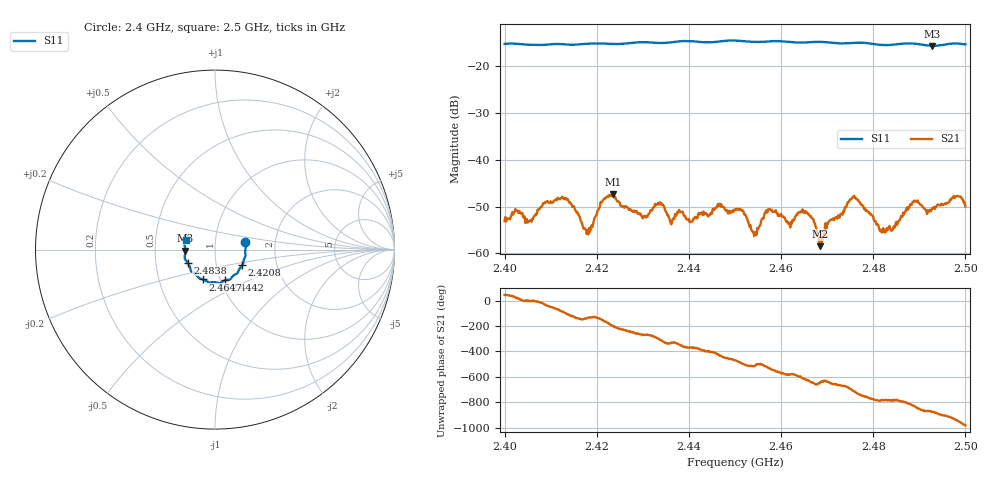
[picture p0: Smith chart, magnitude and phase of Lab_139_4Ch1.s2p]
# Hz S RI R 50
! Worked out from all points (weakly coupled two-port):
!   601 points, 2.4 GHz to 2.5 GHz, reference 50 ohm
!   highest |S21| = -47.36 dB at 2.4235 GHz (marker M1); lowest = -58.4 dB at 2.4685 GHz (marker M2)
!   lowest |S11| = -15.6 dB at 2.4928 GHz (marker M3), VSWR 1.40, Z = 35.8 - j0.39 ohm
!   |S11| at or under -10 dB: start of sweep to end of sweep
!   S12 and S22 are empty: the file has one direction only
!   S11 on the Smith chart (normalised r, x): 2.4 GHz: 1.40, +0.12; 2.4208 GHz: 1.33, -0.24; 2.4442 GHz: 1.05, -0.37; 2.4647 GHz: 0.83, -0.29; 2.4838 GHz: 0.73, -0.11; 2.5 GHz: 0.72, +0.08
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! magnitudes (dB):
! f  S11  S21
! 2.4 GHz  -15.2  -53.1
! 2.4127 GHz  -15.3  -48.1
! 2.4167 GHz  -15.3  -53.3
! 2.4183 GHz  -15.2  -54.5
! 2.4208 GHz  -15.1  -49.0
! 2.4235 GHz  -15.2  -47.4
! 2.4302 GHz  -14.8  -52.1
! 2.4333 GHz  -15.0  -49.2
! 2.4363 GHz  -14.9  -53.3
! 2.4442 GHz  -14.9  -52.1
! 2.45 GHz  -14.5  -50.6
! 2.4542 GHz  -14.8  -56.3
! 2.4573 GHz  -14.7  -50.5
! 2.4647 GHz  -14.9  -50.5
! 2.4667 GHz  -14.8  -52.5
! 2.4685 GHz  -14.8  -58.4
! 2.4757 GHz  -15.0  -47.9
! 2.4833 GHz  -15.5  -54.5
! 2.4838 GHz  -15.4  -55.1
! 2.489 GHz  -15.2  -48.7
! 2.4928 GHz  -15.6  -50.3
! 2.5 GHz  -15.3  -50.0
